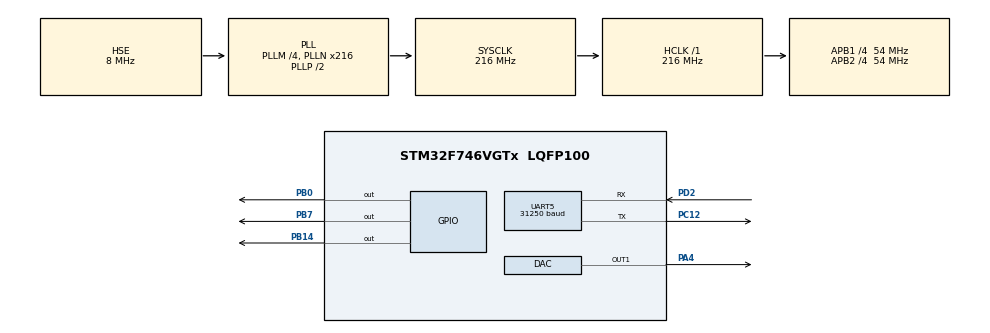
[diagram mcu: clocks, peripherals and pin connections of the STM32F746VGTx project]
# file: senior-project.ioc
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DAC.DAC_Trigger=DAC_TRIGGER_T6_TRGO
Dma.DAC1.0.Direction=DMA_MEMORY_TO_PERIPH
Dma.DAC1.0.FIFOMode=DMA_FIFOMODE_DISABLE
Dma.DAC1.0.Instance=DMA1_Stream5
Dma.DAC1.0.MemDataAlignment=DMA_MDATAALIGN_HALFWORD
Dma.DAC1.0.MemInc=DMA_MINC_ENABLE
Dma.DAC1.0.Mode=DMA_CIRCULAR
Dma.DAC1.0.PeriphDataAlignment=DMA_PDATAALIGN_HALFWORD
Dma.DAC1.0.PeriphInc=DMA_PINC_DISABLE
Dma.DAC1.0.Priority=DMA_PRIORITY_MEDIUM
Dma.Request0=DAC1
Mcu.Family=STM32F7
Mcu.Name=STM32F746VGTx
Mcu.Package=LQFP100
NVIC.DMA1_Stream5_IRQn=true\:0\:0\:false\:false\:true\:false\:true
NVIC.PriorityGroup=NVIC_PRIORITYGROUP_4
NVIC.UART5_IRQn=true\:0\:0\:false\:false\:true\:true\:true
PA13.Mode=Serial_Wire
PA13.Signal=SYS_JTMS-SWDIO
PA14.Mode=Serial_Wire
PA14.Signal=SYS_JTCK-SWCLK
PA4.Signal=COMP_DAC1_group
PB0.Signal=GPIO_Output
PB14.Signal=GPIO_Output
PB7.Signal=GPIO_Output
PC12.Mode=Asynchronous
PC12.Signal=UART5_TX
PD2.GPIO_PuPd=GPIO_PULLUP
PD2.Mode=Asynchronous
PD2.Signal=UART5_RX
PH0/OSC_IN.Mode=HSE-External-Oscillator
PH0/OSC_IN.Signal=RCC_OSC_IN
PH1/OSC_OUT.Mode=HSE-External-Oscillator
PH1/OSC_OUT.Signal=RCC_OSC_OUT
ProjectManager.HeapSize=0x4000
ProjectManager.StackSize=0x400
ProjectManager.TargetToolchain=Makefile
RCC.AHBFreq_Value=216000000
RCC.APB1CLKDivider=RCC_HCLK_DIV4
RCC.APB1Freq_Value=54000000
RCC.APB1TimFreq_Value=108000000
RCC.APB2CLKDivider=RCC_HCLK_DIV4
RCC.APB2Freq_Value=54000000
RCC.APB2TimFreq_Value=108000000
RCC.CortexFreq_Value=216000000
RCC.HCLKFreq_Value=216000000
RCC.HSE_VALUE=8000000
RCC.HSI_VALUE=16000000
RCC.LSE_VALUE=32768
RCC.PLLM=4
RCC.PLLN=216
RCC.PLLSourceVirtual=RCC_PLLSOURCE_HSE
RCC.SYSCLKFreq_VALUE=216000000
RCC.SYSCLKSource=RCC_SYSCLKSOURCE_PLLCLK
RCC.USBFreq_Value=216000000
RCC.VCOOutputFreq_Value=432000000
SH.COMP_DAC1_group.0=DAC_OUT1,DAC_OUT1
TIM6.Period=2047
TIM6.TIM_MasterOutputTrigger=TIM_TRGO_UPDATE
UART5.BaudRate=31250
UART5.Mode=MODE_RX
VP_TIM6_VS_ClockSourceINT.Mode=Enable_Timer
board=custom

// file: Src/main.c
/**
	******************************************************************************
	* @file					 : main.c
	* @brief					: Main program body
	******************************************************************************
	** This notice applies to any and all portions of this file
	* that are not between comment pairs USER CODE BEGIN and
	* USER CODE END. Other portions of this file, whether
	* inserted by the user or by software development tools
	* are owned by their respective copyright owners.
	*
	* COPYRIGHT(c) 2019 STMicroelectronics
	*
	* Redistribution and use in source and binary forms, with or without modification,
	* are permitted provided that the following conditions are met:
	*	 1. Redistributions of source code must retain the above copyright notice,
	*			this list of conditions and the following disclaimer.
	*	 2. Redistributions in binary form must reproduce the above copyright notice,
	*			this list of conditions and the following disclaimer in the documentation
	*			and/or other materials provided with the distribution.
	*	 3. Neither the name of STMicroelectronics nor the names of its contributors
	*			may be used to endorse or promote products derived from this software
	*			without specific prior written permission.
	*
	* THIS SOFTWARE IS PROVIDED BY THE COPYRIGHT HOLDERS AND CONTRIBUTORS "AS IS"
	* AND ANY EXPRESS OR IMPLIED WARRANTIES, INCLUDING, BUT NOT LIMITED TO, THE
	* IMPLIED WARRANTIES OF MERCHANTABILITY AND FITNESS FOR A PARTICULAR PURPOSE ARE
	* DISCLAIMED. IN NO EVENT SHALL THE COPYRIGHT HOLDER OR CONTRIBUTORS BE LIABLE
	* FOR ANY DIRECT, INDIRECT, INCIDENTAL, SPECIAL, EXEMPLARY, OR CONSEQUENTIAL
	* DAMAGES (INCLUDING, BUT NOT LIMITED TO, PROCUREMENT OF SUBSTITUTE GOODS OR
	* SERVICES; LOSS OF USE, DATA, OR PROFITS; OR BUSINESS INTERRUPTION) HOWEVER
	* CAUSED AND ON ANY THEORY OF LIABILITY, WHETHER IN CONTRACT, STRICT LIABILITY,
	* OR TORT (INCLUDING NEGLIGENCE OR OTHERWISE) ARISING IN ANY WAY OUT OF THE USE
	* OF THIS SOFTWARE, EVEN IF ADVISED OF THE POSSIBILITY OF SUCH DAMAGE.
	*
	******************************************************************************
	*/
#include "main.h"
#include "stm32f7xx_hal.h"

/* USER CODE BEGIN Includes */

#include <stdlib.h>
#include <string.h>
#include <math.h>
#include <stdbool.h>
#include "biquad.h"

/* USER CODE END Includes */

DAC_HandleTypeDef hdac;
DMA_HandleTypeDef hdma_dac1;

TIM_HandleTypeDef htim6;

UART_HandleTypeDef huart5;

/* USER CODE BEGIN PV */

/* Private variables ---------------------------------------------------------*/

// uart_buf is the buffer for receiving MIDI data byte-by-byte.
#define UART_CAP 64
volatile uint8_t uart_buf[UART_CAP];
volatile int uart_head, uart_tail;

// Global DMA/DAC flags.
// dac_wait is set to 0 when either half of the DMA/DAC buffer has finished
// being outputted.
// dac_lower indicates which half of the buffer was last written.
volatile bool dac_wait = false;
volatile bool dac_lower = false;

typedef struct {
	uint8_t number, velocity;
	int counter, period;
	int envelope_counter;
	int lfo_counter;
} Note;

#define SINE_RES 1024
float sine[SINE_RES];

/* USER CODE END PV */

void SystemClock_Config(void);
static void MX_GPIO_Init(void);
static void MX_DMA_Init(void);
static void MX_DAC_Init(void);
static void MX_TIM6_Init(void);
static void MX_UART5_Init(void);
static void MX_GFXSIMULATOR_Init(void);

/* USER CODE BEGIN PFP */
/* Private function prototypes -----------------------------------------------*/

static inline float compute_sample(int fs, Note *note, float modulation);

/* USER CODE END PFP */

/* USER CODE BEGIN 0 */

static inline float compute_sample(int fs, Note *note, float modulation) {

	int lfo_period = roundf(fs / (1.0f + 9.0f * modulation));
	float lfo = sine[(int) (SINE_RES * (float) note->lfo_counter / lfo_period)];
	note->lfo_counter = (note->lfo_counter + 1) % lfo_period;

	// Sawtooth.
	float phase = (float) note->counter / note->period;
	note->counter = (note->counter+1) % note->period;
	return phase * (1.0f - lfo*modulation);

	// FM synth.
	//float phase = (float) note->counter / note->period;
	//note->counter = (note->counter+1) % note->period;
	//phase += sine[(int) (phase * SINE_RES)] * modulation;
	//phase = fmodf(phase + 1.0f, 1.0f);
	//phase += sine[(int) (phase * SINE_RES)] * modulation;
	//phase = fmodf(2.0f*phase + 1.0f, 1.0f);
	//return 0.5f + 0.5f*sine[(int) (phase * SINE_RES)];

}

void HAL_UART_RxCpltCallback(UART_HandleTypeDef *huart) {
	// Increment uart_tail and request the next byte.
	int new_tail = (uart_tail+1) % UART_CAP;
	if (new_tail != uart_head) {
		uart_tail = new_tail;
		HAL_UART_Receive_IT(&huart5, (uint8_t *) &uart_buf[uart_tail], 1);
	}
}

void HAL_DAC_ConvHalfCpltCallbackCh1(DAC_HandleTypeDef *hdma) {
	if (dac_wait == false) HAL_GPIO_WritePin(GPIOB, GPIO_PIN_14, GPIO_PIN_SET);
	dac_lower = true;
	dac_wait = false;
}

void HAL_DAC_ConvCpltCallbackCh1(DAC_HandleTypeDef *hdma) {
	if (dac_wait == false) HAL_GPIO_WritePin(GPIOB, GPIO_PIN_14, GPIO_PIN_SET);
	dac_lower = false;
	dac_wait = false;
}

/* USER CODE END 0 */

int main(void)
{

	/* MCU Configuration----------------------------------------------------------*/

	/* Reset of all peripherals, Initializes the Flash interface and the Systick. */
	HAL_Init();

	/* Configure the system clock */
	SystemClock_Config();

	/* Initialize all configured peripherals */
	MX_GPIO_Init();
	MX_DMA_Init();
	MX_DAC_Init();
	MX_TIM6_Init();
	MX_UART5_Init();
	MX_GFXSIMULATOR_Init();
	/* USER CODE BEGIN 2 */

	const int fs = roundf(108e6 / (htim6.Init.Period + 1));

	// Initialize the DAC DMA buffer.
	int dac_size = 2048;
	uint16_t *dac_buf = malloc(dac_size * sizeof(uint16_t));
	if (dac_buf == NULL) _Error_Handler(__FILE__, __LINE__);

	// DMA.
	HAL_TIM_Base_Start(&htim6);
	HAL_DAC_Start(&hdac, DAC_CHANNEL_1);
	HAL_DAC_Start_DMA(&hdac, DAC_CHANNEL_1, (uint32_t *) dac_buf, dac_size, DAC_ALIGN_12B_R);

	// UART interrupts.
	HAL_UART_Receive_IT(&huart5, (uint8_t *) &uart_buf[uart_head], 1);

	// Precomputed table for exponential pitch bending.
	float pow2[128];
	for (int i = 0; i < 128; i++) {
		pow2[i] = powf(2.0f, (i - 64) / 64.0f);
	}

	// Precomputed note frequencies.
	float note_frequencies[128];
	for (int i = 0; i < 128; i++) {
		note_frequencies[i] = 55.0f * powf(2.0f, (i - 33)/12.0f);
	}

	// Precompute the sine wave.
	for (int i = 0; i < SINE_RES; i++) {
		sine[i] = sinf(2.0f*M_PI * (float) i/SINE_RES);
	}

	// Read bytes from UART and accumulate complete MIDI events in midi_buf.
#define MIDI_CAP 8
	uint8_t midi_buf[MIDI_CAP];
	int midi_len = 0;

	// Active notes are tracked in the notes array.
#define NOTES_CAP 16
	Note notes[NOTES_CAP];
	int notes_len = 0;

	// We also track the volume.
	float volume = 1.0f;
	float pitch_bend = 1.0f;

	// Constants for a simplified sound envelope.
	const int attack = 0.0f * fs;
	const int release = 0.5f * fs;

	// Low pass filter.
	BiquadFilter low_pass;
	biquad_filter_low_pass(&low_pass, fs, 1500.0f, 1.0f);

	// Modulation.
	float modulation = 0.0f;

	/* USER CODE END 2 */

	/* Infinite loop */
	while (1)
	{

	/* USER CODE BEGIN 3 */

		// Wait for a DAC interrupt to reset dac_wait.
		dac_wait = true;
		while (dac_wait) __WFI();

		for (; uart_head != uart_tail; uart_head = (uart_head+1) % UART_CAP) {

			// Reset midi_len if it's a new event.
			if (uart_buf[uart_head] >> 7) midi_len = 0;

			// Push byte onto midi_buf.
			if (midi_len < MIDI_CAP) midi_buf[midi_len] = uart_buf[uart_head];
			midi_len++;

			// Parse events.
			// All the events we care about are 3 bytes long.
			if (midi_len != 3) continue;

			HAL_GPIO_TogglePin(GPIOB, GPIO_PIN_7);

			uint8_t type = midi_buf[0] >> 4;
			if (type == 0x09) {

				// Note on event.

				uint8_t number = midi_buf[1],
				      velocity = midi_buf[2];

				// MIDI note 10 doesn't read correctly. SO weird.
				// I hardcoded a fix.
				static bool toggle = true;
				if (number == 13 && velocity == 10) {
					number = 10;
					if (toggle) velocity = 128;
					else        velocity = 0;
					toggle = !toggle;
				}

				if (velocity == 0) {
					// Find the note in the array and set the velocity to zero.
					for (int i = 0; i < notes_len; i++) {
						if (notes[i].number == number && notes[i].velocity > 0) {
							notes[i].velocity = 0;
							// Update the envelope_counter to account for an unfinished attack stage.
							if (notes[i].envelope_counter < attack) {
								notes[i].envelope_counter = release * ((float) (attack - notes[i].envelope_counter) / attack);
							} else {
								notes[i].envelope_counter = 0;
							}
							break;
						}
					}
				} else {
					// If there's space, push the note onto the array.
					if (notes_len < NOTES_CAP && number < 128) {
						notes[notes_len].number = number;
						notes[notes_len].velocity = velocity;
						float f = pitch_bend * note_frequencies[number];
						notes[notes_len].period = roundf(fs / f);
						notes[notes_len].counter = 0;
						notes[notes_len].envelope_counter = 0;
						notes[notes_len].lfo_counter = 0;
						notes_len++;
					}
				}
			} else if (type == 0x08) {

				// Note off event.

				// Find the note in the array and set the velocity to zero.
				uint8_t number = midi_buf[1];
				for (int i = 0; i < notes_len; i++) {
					if (notes[i].number == number && notes[i].velocity > 0) {
						notes[i].velocity = 0;
						notes[i].envelope_counter = 0;
					}
				}

			} else if (type == 0x0b) {
				if (midi_buf[1] == 0x07) {
					// Volume change.
					if (midi_buf[2] < 128) {
						volume = log2f(midi_buf[2]) / 7.0f;
					}
				} else if (midi_buf[1] == 0x01) {
					// Modulation.
					if (midi_buf[2] < 128) {
						modulation = midi_buf[2] / 128.0f;
						//release = 4.0f * fs * (midi_buf[2] / 128.0f);
					}
				}
			} else if (type == 0xe) {
				// Pitch bending.
				if (midi_buf[2] < 128) {
					pitch_bend = pow2[midi_buf[2]];
					for (int i = 0; i < notes_len; i++) {
						float f = pitch_bend * note_frequencies[notes[i].number];
						notes[i].period = roundf(fs / f);
					}
				}
			}

		}

		// Use dac_lower to figure out with half of the buffer to operate on.
		uint16_t *dac_ptr = dac_lower ? &dac_buf[0] : &dac_buf[dac_size/2];

		// Synthesize the signal.
		float out[dac_size/2];
		memset(out, 0, sizeof(out));

		// LFO.
		//float lfo[dac_size/2];
		//float lfo_frequency = 8.0f;
		//int lfo_period = roundf(fs / lfo_frequency);
		//static int lfo_counter;
		//for (int i = 0; i < dac_size/2; i++) {
		//	lfo[i] = sine[(int) ((float) lfo_counter / lfo_period * SINE_RES)];
		//	lfo_counter = (lfo_counter+1) % lfo_period;
		//}

		// For each note..
		for (int i = 0; i < notes_len; i++) {

			// Synthesize the signal.
			if (notes[i].velocity > 0) {

				int j;
				for (j = 0; j < dac_size/2 && notes[i].envelope_counter < attack; j++, notes[i].envelope_counter++) {
					float envelope = (float) notes[i].envelope_counter / attack;
					out[j] += envelope * compute_sample(fs, &notes[i], modulation);
				}
				for (; j < dac_size/2; j++) {
					out[j] += compute_sample(fs, &notes[i], modulation);
				}

			} else {

				for (int j = 0; j < dac_size/2 && notes[i].envelope_counter < release; j++, notes[i].envelope_counter++) {
					float envelope = (float) (release - notes[i].envelope_counter) / release;
					out[j] += envelope * compute_sample(fs, &notes[i], modulation);
				}

				// If the envelope is finished, remove the note from the array with the ol' swap-and-pop.
				if (notes[i].envelope_counter == release) {
					notes[i] = notes[notes_len-1];
					notes_len--;
					i--;
				}

			}

		}

		// Copy out into dac_ptr.
		for (int j = 0; j < dac_size/2; j++) {
			dac_ptr[j] = (2 << 12) * biquad_filter_process(&low_pass, out[j]) * volume / NOTES_CAP;
		}

		// Heartbeat LED.
		HAL_GPIO_TogglePin(GPIOB, GPIO_PIN_0);

	}
	/* USER CODE END 3 */

}

void SystemClock_Config(void)
{

	RCC_OscInitTypeDef RCC_OscInitStruct;
	RCC_ClkInitTypeDef RCC_ClkInitStruct;
	RCC_PeriphCLKInitTypeDef PeriphClkInitStruct;

		/**Configure the main internal regulator output voltage
		*/
	__HAL_RCC_PWR_CLK_ENABLE();

	__HAL_PWR_VOLTAGESCALING_CONFIG(PWR_REGULATOR_VOLTAGE_SCALE1);

		/**Initializes the CPU, AHB and APB busses clocks
		*/
	RCC_OscInitStruct.OscillatorType = RCC_OSCILLATORTYPE_HSE;
	RCC_OscInitStruct.HSEState = RCC_HSE_ON;
	RCC_OscInitStruct.PLL.PLLState = RCC_PLL_ON;
	RCC_OscInitStruct.PLL.PLLSource = RCC_PLLSOURCE_HSE;
	RCC_OscInitStruct.PLL.PLLM = 4;
	RCC_OscInitStruct.PLL.PLLN = 216;
	RCC_OscInitStruct.PLL.PLLP = RCC_PLLP_DIV2;
	RCC_OscInitStruct.PLL.PLLQ = 2;
	if (HAL_RCC_OscConfig(&RCC_OscInitStruct) != HAL_OK)
	{
		_Error_Handler(__FILE__, __LINE__);
	}

		/**Activate the Over-Drive mode
		*/
	if (HAL_PWREx_EnableOverDrive() != HAL_OK)
	{
		_Error_Handler(__FILE__, __LINE__);
	}

		/**Initializes the CPU, AHB and APB busses clocks
		*/
	RCC_ClkInitStruct.ClockType = RCC_CLOCKTYPE_HCLK|RCC_CLOCKTYPE_SYSCLK
															|RCC_CLOCKTYPE_PCLK1|RCC_CLOCKTYPE_PCLK2;
	RCC_ClkInitStruct.SYSCLKSource = RCC_SYSCLKSOURCE_PLLCLK;
	RCC_ClkInitStruct.AHBCLKDivider = RCC_SYSCLK_DIV1;
	RCC_ClkInitStruct.APB1CLKDivider = RCC_HCLK_DIV4;
	RCC_ClkInitStruct.APB2CLKDivider = RCC_HCLK_DIV4;

	if (HAL_RCC_ClockConfig(&RCC_ClkInitStruct, FLASH_LATENCY_7) != HAL_OK)
	{
		_Error_Handler(__FILE__, __LINE__);
	}

	PeriphClkInitStruct.PeriphClockSelection = RCC_PERIPHCLK_UART5;
	PeriphClkInitStruct.Uart5ClockSelection = RCC_UART5CLKSOURCE_PCLK1;
	if (HAL_RCCEx_PeriphCLKConfig(&PeriphClkInitStruct) != HAL_OK)
	{
		_Error_Handler(__FILE__, __LINE__);
	}

		/**Configure the Systick interrupt time
		*/
	HAL_SYSTICK_Config(HAL_RCC_GetHCLKFreq()/1000);

		/**Configure the Systick
		*/
	HAL_SYSTICK_CLKSourceConfig(SYSTICK_CLKSOURCE_HCLK);

	/* SysTick_IRQn interrupt configuration */
	HAL_NVIC_SetPriority(SysTick_IRQn, 0, 0);
}

/* DAC init function */
static void MX_DAC_Init(void)
{

	DAC_ChannelConfTypeDef sConfig;

		/**DAC Initialization
		*/
	hdac.Instance = DAC;
	if (HAL_DAC_Init(&hdac) != HAL_OK)
	{
		_Error_Handler(__FILE__, __LINE__);
	}

		/**DAC channel OUT1 config
		*/
	sConfig.DAC_Trigger = DAC_TRIGGER_T6_TRGO;
	sConfig.DAC_OutputBuffer = DAC_OUTPUTBUFFER_ENABLE;
	if (HAL_DAC_ConfigChannel(&hdac, &sConfig, DAC_CHANNEL_1) != HAL_OK)
	{
		_Error_Handler(__FILE__, __LINE__);
	}

}

/* GFXSIMULATOR init function */
static void MX_GFXSIMULATOR_Init(void)
{

}

/* TIM6 init function */
static void MX_TIM6_Init(void)
{

	TIM_MasterConfigTypeDef sMasterConfig;

	htim6.Instance = TIM6;
	htim6.Init.Prescaler = 0;
	htim6.Init.CounterMode = TIM_COUNTERMODE_UP;
	htim6.Init.Period = 2047;
	htim6.Init.AutoReloadPreload = TIM_AUTORELOAD_PRELOAD_DISABLE;
	if (HAL_TIM_Base_Init(&htim6) != HAL_OK)
	{
		_Error_Handler(__FILE__, __LINE__);
	}

	sMasterConfig.MasterOutputTrigger = TIM_TRGO_UPDATE;
	sMasterConfig.MasterSlaveMode = TIM_MASTERSLAVEMODE_DISABLE;
	if (HAL_TIMEx_MasterConfigSynchronization(&htim6, &sMasterConfig) != HAL_OK)
	{
		_Error_Handler(__FILE__, __LINE__);
	}

}

/* UART5 init function */
static void MX_UART5_Init(void)
{

	huart5.Instance = UART5;
	huart5.Init.BaudRate = 31250;
	huart5.Init.WordLength = UART_WORDLENGTH_8B;
	huart5.Init.StopBits = UART_STOPBITS_1;
	huart5.Init.Parity = UART_PARITY_NONE;
	huart5.Init.Mode = UART_MODE_RX;
	huart5.Init.HwFlowCtl = UART_HWCONTROL_NONE;
	huart5.Init.OverSampling = UART_OVERSAMPLING_16;
	huart5.Init.OneBitSampling = UART_ONE_BIT_SAMPLE_DISABLE;
	huart5.AdvancedInit.AdvFeatureInit = UART_ADVFEATURE_NO_INIT;
	if (HAL_UART_Init(&huart5) != HAL_OK)
	{
		_Error_Handler(__FILE__, __LINE__);
	}

}

static void MX_DMA_Init(void)
{
	/* DMA controller clock enable */
	__HAL_RCC_DMA1_CLK_ENABLE();

	/* DMA interrupt init */
	/* DMA1_Stream5_IRQn interrupt configuration */
	HAL_NVIC_SetPriority(DMA1_Stream5_IRQn, 0, 0);
	HAL_NVIC_EnableIRQ(DMA1_Stream5_IRQn);

}

/** Configure pins as
				* Analog
				* Input
				* Output
				* EVENT_OUT
				* EXTI
*/
static void MX_GPIO_Init(void)
{

	GPIO_InitTypeDef GPIO_InitStruct;

	/* GPIO Ports Clock Enable */
	__HAL_RCC_GPIOH_CLK_ENABLE();
	__HAL_RCC_GPIOA_CLK_ENABLE();
	__HAL_RCC_GPIOB_CLK_ENABLE();
	__HAL_RCC_GPIOC_CLK_ENABLE();
	__HAL_RCC_GPIOD_CLK_ENABLE();

	/*Configure GPIO pin Output Level */
	HAL_GPIO_WritePin(GPIOB, GPIO_PIN_0|GPIO_PIN_14|GPIO_PIN_7, GPIO_PIN_RESET);

	/*Configure GPIO pins : PB0 PB14 PB7 */
	GPIO_InitStruct.Pin = GPIO_PIN_0|GPIO_PIN_14|GPIO_PIN_7;
	GPIO_InitStruct.Mode = GPIO_MODE_OUTPUT_PP;
	GPIO_InitStruct.Pull = GPIO_NOPULL;
	GPIO_InitStruct.Speed = GPIO_SPEED_FREQ_LOW;
	HAL_GPIO_Init(GPIOB, &GPIO_InitStruct);

}

void _Error_Handler(char *file, int line)
{
	/* USER CODE BEGIN Error_Handler_Debug */
	/* User can add his own implementation to report the HAL error return state */
	HAL_GPIO_WritePin(GPIOB, GPIO_PIN_0, GPIO_PIN_SET);
	HAL_GPIO_WritePin(GPIOB, GPIO_PIN_7, GPIO_PIN_SET);
	HAL_GPIO_WritePin(GPIOB, GPIO_PIN_14, GPIO_PIN_SET);
	while(1)
	{
	}
	/* USER CODE END Error_Handler_Debug */
}

/************************ (C) COPYRIGHT STMicroelectronics *****END OF FILE****/
